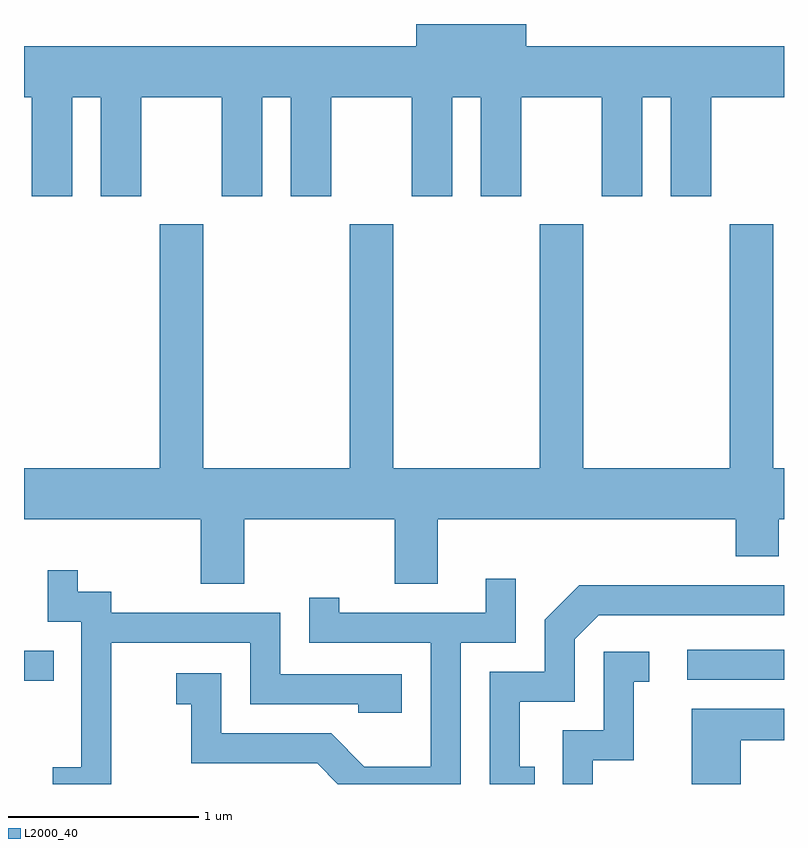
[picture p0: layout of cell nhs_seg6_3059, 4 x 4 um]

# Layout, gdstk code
import gdstk
lib = gdstk.Library(unit=1e-6, precision=1e-09)
def R(c, l, rs):  # rectangles x0, y0, x1, y1
    for r in rs: c.add(gdstk.rectangle(r[:2], r[2:], *l))
def P(c, l, *ps):  # polygons
    for p in ps: c.add(gdstk.Polygon(p, *l))
L2000_40 = (2000, 40)

nhs_seg6_3059 = lib.new_cell('nhs_seg6_3059')
R(nhs_seg6_3059, L2000_40, [(277.611,1584.706,277.768,1584.864), (281.103,1584.711,281.611,1584.869)])
P(nhs_seg6_3059, L2000_40, [(277.864,1587.776),(278.016,1587.776),(278.016,1587.256),(278.229,1587.256),(278.229,1587.776),(278.651,1587.776),(278.651,1587.256),(278.864,1587.256),(278.864,1587.776),(279.016,1587.776),(279.016,1587.256),(279.229,1587.256),(279.229,1587.776),(279.651,1587.776),(279.651,1587.256),(279.864,1587.256),(279.864,1587.776),(280.016,1587.776),(280.016,1587.256),(280.229,1587.256),(280.229,1587.776),(280.651,1587.776),(280.651,1587.256),(280.864,1587.256),(280.864,1587.776),(281.016,1587.776),(281.016,1587.256),(281.229,1587.256),(281.229,1587.776),(281.611,1587.776),(281.611,1588.044),(280.254,1588.044),(280.254,1588.162),(279.676,1588.162),(279.676,1588.044),(277.611,1588.044),(277.611,1587.776),(277.651,1587.776),(277.651,1587.256),(277.864,1587.256)],
  [(278.769,1585.556),(279.561,1585.556),(279.561,1585.216),(279.789,1585.216),(279.789,1585.556),(281.356,1585.556),(281.356,1585.361),(281.584,1585.361),(281.584,1585.556),(281.611,1585.556),(281.611,1585.824),(281.554,1585.824),(281.554,1587.109),(281.326,1587.109),(281.326,1585.824),(280.554,1585.824),(280.554,1587.109),(280.326,1587.109),(280.326,1585.824),(279.554,1585.824),(279.554,1587.109),(279.326,1587.109),(279.326,1585.824),(278.554,1585.824),(278.554,1587.109),(278.326,1587.109),(278.326,1585.824),(277.611,1585.824),(277.611,1585.556),(278.541,1585.556),(278.541,1585.216),(278.769,1585.216)],
  [(278.069,1584.906),(278.801,1584.906),(278.801,1584.581),(279.371,1584.581),(279.371,1584.536),(279.599,1584.536),(279.599,1584.739),(278.959,1584.739),(278.959,1585.064),(278.069,1585.064),(278.069,1585.174),(277.894,1585.174),(277.894,1585.288),(277.736,1585.288),(277.736,1585.016),(277.911,1585.016),(277.911,1584.249),(277.761,1584.249),(277.761,1584.162),(278.069,1584.162)],
  [(279.909,1584.906),(280.199,1584.906),(280.199,1585.243),(280.041,1585.243),(280.041,1585.064),(279.269,1585.064),(279.269,1585.143),(279.111,1585.143),(279.111,1584.906),(279.751,1584.906),(279.751,1584.254),(279.402,1584.254),(279.227,1584.429),(278.649,1584.429),(278.649,1584.744),(278.413,1584.744),(278.413,1584.581),(278.491,1584.581),(278.491,1584.271),(279.154,1584.271),(279.263,1584.162),(279.909,1584.162)],
  [(280.298,1584.254),(280.219,1584.254),(280.219,1584.596),(280.509,1584.596),(280.509,1584.924),(280.637,1585.051),(281.611,1585.051),(281.611,1585.209),(280.534,1585.209),(280.351,1585.027),(280.351,1584.754),(280.061,1584.754),(280.061,1584.162),(280.298,1584.162)],
  [(280.604,1584.286),(280.819,1584.286),(280.819,1584.701),(280.903,1584.701),(280.903,1584.859),(280.661,1584.859),(280.661,1584.444),(280.446,1584.444),(280.446,1584.162),(280.604,1584.162)],
  [(281.384,1584.391),(281.611,1584.391),(281.611,1584.559),(281.126,1584.559),(281.126,1584.162),(281.384,1584.162)])

lib.write_gds('nhs_seg6_3059.gds')
